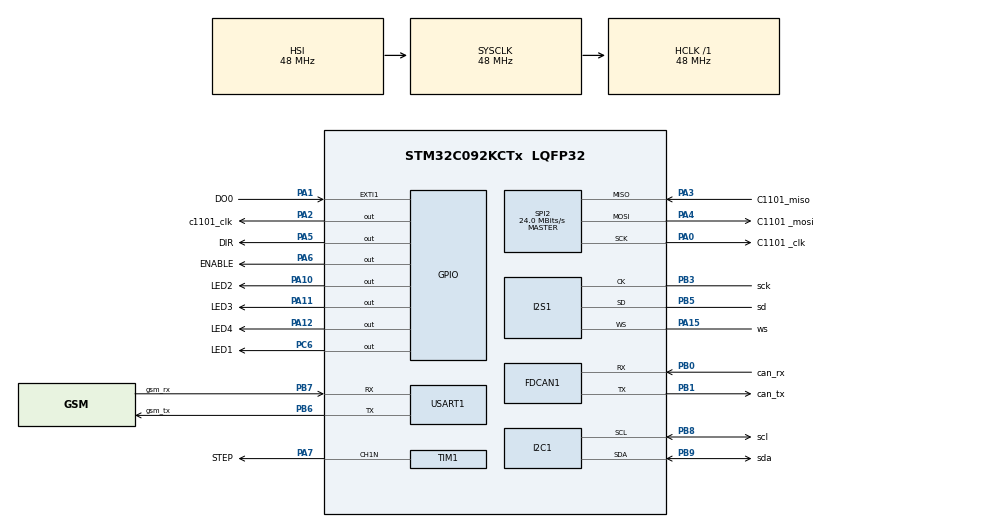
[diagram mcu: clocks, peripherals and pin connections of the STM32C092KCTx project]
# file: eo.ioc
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CORTEX_M0+.MPU_Control=__NULL
FDCAN1.CalculateBaudRateNominal=1000000
FDCAN1.CalculateTimeBitNominal=1000
FDCAN1.CalculateTimeQuantumNominal=333.3333333333333
I2C1.CustomTiming=Enabled
I2C1.Timing=0x10805D88
I2S1.AudioFreq=I2S_AUDIOFREQ_32K
I2S1.CPOL=I2S_CPOL_HIGH
I2S1.ErrorAudioFreq=-0.26 %
I2S1.FullDuplexMode=I2S_FULLDUPLEXMODE_DISABLE
I2S1.Instance=SPI$Index
I2S1.RealAudioFreq=31.914 KHz
I2S1.VirtualMode=I2S_MODE_MASTER
Mcu.Family=STM32C0
Mcu.Name=STM32C092KCTx
Mcu.Package=LQFP32
NVIC.DMA1_Channel2_3_IRQn=true\:2\:0\:false\:false\:true\:true\:true\:true
NVIC.EXTI0_1_IRQn=true\:1\:0\:false\:false\:true\:true\:true\:true
NVIC.FDCAN1_IT0_IRQn=true\:0\:0\:false\:false\:true\:true\:true\:true
NVIC.FDCAN1_IT1_IRQn=true\:0\:0\:false\:false\:true\:true\:true\:true
NVIC.SPI1_IRQn=true\:0\:0\:false\:false\:true\:true\:true\:true
NVIC.USART1_IRQn=true\:0\:0\:false\:false\:true\:true\:true\:true
PA0.GPIO_Label=C1101 _clk
PA0.Mode=Full_Duplex_Master
PA0.Signal=SPI2_SCK
PA1.GPIO_Label=DO0
PA1.GPIO_Mode=GPIO_MODE_IT_RISING
PA1.GPIO_PuPd=GPIO_NOPULL
PA1.GPIO_Speed=GPIO_SPEED_FREQ_LOW
PA1.Signal=GPIO_EXTI1
PA10.GPIO_Label=LED2
PA10.Signal=GPIO_Output
PA11\ [PA9].GPIO_Label=LED3
PA11\ [PA9].Signal=GPIO_Output
PA12\ [PA10].GPIO_Label=LED4
PA12\ [PA10].Signal=GPIO_Output
PA13.Mode=Serial_Wire
PA13.Signal=DEBUG_SWDIO
PA14-BOOT0.Mode=Serial_Wire
PA14-BOOT0.Signal=DEBUG_SWCLK
PA15.GPIO_Label=ws
PA15.Mode=Half_Duplex_Master
PA15.Signal=I2S1_WS
PA2.GPIO_Label=c1101_clk
PA2.Signal=GPIO_Output
PA3.GPIO_Label=C1101_miso
PA3.Mode=Full_Duplex_Master
PA3.Signal=SPI2_MISO
PA4.GPIO_Label=C1101 _mosi
PA4.Mode=Full_Duplex_Master
PA4.Signal=SPI2_MOSI
PA5.GPIO_Label=DIR
PA5.Signal=GPIO_Output
PA6.GPIO_Label=ENABLE
PA6.Signal=GPIO_Output
PA7.GPIO_Label=STEP
PA7.Mode=PWM Generation1 CH1N
PA7.Signal=TIM1_CH1N
PB0.GPIO_Label=can_rx
PB0.Mode=FDCAN_Activate
PB0.Signal=FDCAN1_RX
PB1.GPIO_Label=can_tx
PB1.Mode=FDCAN_Activate
PB1.Signal=FDCAN1_TX
PB3.GPIO_Label=sck
PB3.Mode=Half_Duplex_Master
PB3.Signal=I2S1_CK
PB5.GPIO_Label=sd
PB5.Mode=Half_Duplex_Master
PB5.Signal=I2S1_SD
PB6.GPIO_Label=gsm_tx
PB6.Mode=Asynchronous
PB6.Signal=USART1_TX
PB7.GPIO_Label=gsm_rx
PB7.Mode=Asynchronous
PB7.Signal=USART1_RX
PB8.GPIO_Label=scl
PB8.Mode=I2C
PB8.Signal=I2C1_SCL
PB9.GPIO_Label=sda
PB9.Mode=I2C
PB9.Signal=I2C1_SDA
PC6.GPIO_Label=LED1
PC6.Signal=GPIO_Output
ProjectManager.HeapSize=0x200
ProjectManager.StackSize=0x400
ProjectManager.TargetToolchain=STM32CubeIDE
RCC.ADCFreq_Value=48000000
RCC.AHBFreq_Value=48000000
RCC.CortexFreq_Value=48000000
RCC.EXTERNAL_CLOCK_VALUE=12288000
RCC.HCLKFreq_Value=48000000
RCC.HSE_VALUE=8000000
RCC.HSISYSCLKDivider=RCC_HSI_DIV1
RCC.HSI_VALUE=48000000
RCC.LSE_VALUE=32768
RCC.SYSCLKFreq_VALUE=48000000
SPI2.CalculateBaudRate=24.0 MBits/s
SPI2.Direction=SPI_DIRECTION_2LINES
SPI2.Mode=SPI_MODE_MASTER
SPI2.VirtualType=VM_MASTER
TIM1.Channel-PWM\ Generation1\ CH1N=TIM_CHANNEL_1
USART1.VirtualMode-Asynchronous=VM_ASYNC
VP_TIM1_VS_ClockSourceINT.Mode=Internal
board=custom

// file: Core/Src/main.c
/* USER CODE BEGIN Header */
/**
  ******************************************************************************
  * @file           : main.c
  * @brief          : Main program body
  ******************************************************************************
  * @attention
  *
  * Copyright (c) 2026 STMicroelectronics.
  * All rights reserved.
  *
  * This software is licensed under terms that can be found in the LICENSE file
  * in the root directory of this software component.
  * If no LICENSE file comes with this software, it is provided AS-IS.
  *
  ******************************************************************************
  */
/* USER CODE END Header */
#include "main.h"
#include "fdcan.h"
#include "i2c.h"
#include "i2s.h"
#include "spi.h"
#include "tim.h"
#include "usart.h"
#include "gpio.h"

/* USER CODE BEGIN Includes */
#include "cc1101.h"
#include "client_node.h"
#include "gps_compass.h"

/* Feature macros - enable specific node capabilities */
//#define HAS_AUDIO_NODE

#ifdef HAS_AUDIO_NODE
#include "i2s_mic.h"
#endif
/* USER CODE END Includes */

/* USER CODE BEGIN PV */
static char client_id[5];
static char client_pwd[5];
static uint8_t client_addr = 0;

/* GPS + Compass combined sensor data (non-static for extern access) */
Sensor_Data_t sensor_data;

/* Global GPS RX byte (fed from USART1 IRQ) */
volatile uint8_t gps_rx_byte = 0;

/* Current heading of the stepper motor relative to the drone's frame (0-360 deg) */
static float motor_current_heading = 0.0f;

#ifdef HAS_AUDIO_NODE
static uint8_t audio_valid = 0;
#endif
/* USER CODE END PV */

void SystemClock_Config(void);

/* USER CODE BEGIN 0 */

/* Stepper motor: 200 steps/revolution (1.8 deg/step) */
#define STEPS_PER_REV   200

/* A4988 microstepping multiplier - set to match MS1/MS2/MS3 strapping:
 * MS1 MS2 MS3 | Mode        | Steps/rev
 * L   L   L   | Full        | 200
 * H   L   L   | Half        | 400
 * L   H   L   | Quarter     | 800
 * H   H   L   | Eighth      | 1600
 * H   H   H   | Sixteenth   | 3200   <- common default on many carriers
 * If unsure which mode your A4988 is in, keep STEPPER_MICROSTEPS = 16 */
#define STEPPER_MICROSTEPS   16

/**
  * @brief  Microsecond busy-wait delay (48MHz CPU)
  *         Cortex-M0+ NOP + loop overhead ≈ 4 cycles per iteration,
  *         so use 48/4 = 12 iterations per microsecond.
  * @param  us: Microseconds to wait
  */
static void delay_us(uint32_t us)
{
  uint32_t ticks = us * 12;  /* ~12 iterations per µs at 48MHz (4 cyc/iter) */
  while (ticks--)
  {
    __NOP();
  }
}

/* Obfuscation key for boot pattern (keeps phrase hidden in source) */
#define BOOT_PATTERN_KEY  0x55

/**
  * @brief  Show boot phrase pattern on LEDs (right after boot)
  *         LED1=PC6, LED2=PA10, LED3=PA11, LED4=PA12
  *         Pattern is XOR-encoded so the phrase is not readable in source.
  */
static void Boot_ShowPattern(void)
{
  /* Encoded 4-bit LED patterns (bit3=LED1 ... bit0=LED4), XOR key 0x55 */
  static const uint8_t enc[] = {
    0x5A,0x5F,0x55,0x59,0x5A,0x5F,0x50,0x55,
    0x59,0x5F,0x56,0x5A,0x50,0x5F
  };
  uint8_t i, j, pat;

  /* All LEDs off first */
  HAL_GPIO_WritePin(LED1_GPIO_Port, LED1_Pin, GPIO_PIN_SET);
  HAL_GPIO_WritePin(GPIOA, LED2_Pin|LED3_Pin|LED4_Pin, GPIO_PIN_SET);
  HAL_Delay(150);

  /* Scroll through boot phrase */
  for (i = 0; i < sizeof(enc); i++)
  {
    pat = enc[i] ^ BOOT_PATTERN_KEY;

    HAL_GPIO_WritePin(LED1_GPIO_Port, LED1_Pin,
                      (pat & 0x08) ? GPIO_PIN_RESET : GPIO_PIN_SET);
    HAL_GPIO_WritePin(GPIOA, LED2_Pin,
                      (pat & 0x04) ? GPIO_PIN_RESET : GPIO_PIN_SET);
    HAL_GPIO_WritePin(GPIOA, LED3_Pin,
                      (pat & 0x02) ? GPIO_PIN_RESET : GPIO_PIN_SET);
    HAL_GPIO_WritePin(GPIOA, LED4_Pin,
                      (pat & 0x01) ? GPIO_PIN_RESET : GPIO_PIN_SET);

    HAL_Delay(250);

    /* Blink twice for emphasis */
    for (j = 0; j < 2; j++)
    {
      HAL_GPIO_WritePin(LED1_GPIO_Port, LED1_Pin, GPIO_PIN_SET);
      HAL_GPIO_WritePin(GPIOA, LED2_Pin|LED3_Pin|LED4_Pin, GPIO_PIN_SET);
      HAL_Delay(70);
      HAL_GPIO_WritePin(LED1_GPIO_Port, LED1_Pin,
                        (pat & 0x08) ? GPIO_PIN_RESET : GPIO_PIN_SET);
      HAL_GPIO_WritePin(GPIOA, LED2_Pin,
                        (pat & 0x04) ? GPIO_PIN_RESET : GPIO_PIN_SET);
      HAL_GPIO_WritePin(GPIOA, LED3_Pin,
                        (pat & 0x02) ? GPIO_PIN_RESET : GPIO_PIN_SET);
      HAL_GPIO_WritePin(GPIOA, LED4_Pin,
                        (pat & 0x01) ? GPIO_PIN_RESET : GPIO_PIN_SET);
      HAL_Delay(70);
    }
  }

  /* Final sweep: all LEDs on then off */
  HAL_GPIO_WritePin(LED1_GPIO_Port, LED1_Pin, GPIO_PIN_RESET);
  HAL_GPIO_WritePin(GPIOA, LED2_Pin|LED3_Pin|LED4_Pin, GPIO_PIN_RESET);
  HAL_Delay(400);
  HAL_GPIO_WritePin(LED1_GPIO_Port, LED1_Pin, GPIO_PIN_SET);
  HAL_GPIO_WritePin(GPIOA, LED2_Pin|LED3_Pin|LED4_Pin, GPIO_PIN_SET);
  HAL_Delay(150);
}

/* Forward declaration: Stepper_Rotate is called by Stepper_PointToHeading
 * but is defined further down in this file. */
static void Stepper_Rotate(int32_t degrees, uint32_t max_speed_hz);

/**
  * @brief  Rotates the stepper motor to point to a specific world heading.
  * @param  target_world_heading: The desired absolute heading (0-360, 0=North).
  * @param  current_drone_heading: The current absolute heading of the drone from the compass.
  * @param  p_current_motor_heading: Pointer to the variable holding the motor's current
  *                                  heading relative to the drone frame.
  */
void Stepper_PointToHeading(float target_world_heading, float current_drone_heading, float *p_current_motor_heading)
{
  /* Calculate how the motor should be angled relative to the drone's body
   * to point to the target world heading. */
  float target_relative_heading = target_world_heading - current_drone_heading;

  /* Normalize the angle to the shortest path (-180 to 180 degrees). */
  while (target_relative_heading > 180.0f)
  {
    target_relative_heading -= 360.0f;
  }
  while (target_relative_heading <= -180.0f)
  {
    target_relative_heading += 360.0f;
  }

  /* Calculate the rotation needed from the motor's current position. */
  float rotation_needed = target_relative_heading - *p_current_motor_heading;

  /* Normalize the required rotation to the shortest path. */
  while (rotation_needed > 180.0f)
  {
    rotation_needed -= 360.0f;
  }
  while (rotation_needed <= -180.0f)
  {
    rotation_needed += 360.0f;
  }

  /* Only move if the required rotation is significant (e.g., > 1 degree). */
  if ( (rotation_needed > 1.0f) || (rotation_needed < -1.0f) )
  {
    /* Rotate the motor by the calculated amount.
     * A speed of 1600 Hz is a reasonable default. */
    Stepper_Rotate((int32_t)rotation_needed, 1600);

    /* Update the motor's current heading. */
    *p_current_motor_heading += rotation_needed;

    /* Keep the motor's heading within the 0-360 degree range for consistency. */
    if (*p_current_motor_heading >= 360.0f)
    {
      *p_current_motor_heading -= 360.0f;
    }
    else if (*p_current_motor_heading < 0.0f)
    {
      *p_current_motor_heading += 360.0f;
    }
  }
}

/**
  * @brief  Rotate stepper motor by given degrees
  * @param  degrees: Angle to rotate (positive = CW, negative = CCW)
  * @param  max_speed_hz: The maximum step frequency (speed) in Hz.
  */
static void Stepper_Rotate(int32_t degrees, uint32_t max_speed_hz)
{
  int32_t steps;
  int32_t i;

  /* Enable motor driver for the duration of this move */
  HAL_GPIO_WritePin(ENABLE_GPIO_Port, ENABLE_Pin, GPIO_PIN_RESET);
  HAL_Delay(200); /* Let coils energize */

  /* Set direction: A4988 DIR HIGH = CW, DIR LOW = CCW (per typical hookup) */
  if (degrees >= 0)
  {
    HAL_GPIO_WritePin(DIR_GPIO_Port, DIR_Pin, GPIO_PIN_SET);   /* CW */
    steps = (degrees * STEPS_PER_REV * STEPPER_MICROSTEPS) / 360;
  }
  else
  {
    HAL_GPIO_WritePin(DIR_GPIO_Port, DIR_Pin, GPIO_PIN_RESET); /* CCW */
    steps = (-degrees * STEPS_PER_REV * STEPPER_MICROSTEPS) / 360;
  }

  /* --- Ramping Implementation ---
   * To reach high speeds, the motor must accelerate from a slow start speed
   * and decelerate before stopping. This is called ramping. */
  uint32_t start_speed_hz = 400;  /* A safe speed to start and stop at (e.g., 7.5 RPM) */
  uint32_t accel_steps = 400;     /* Number of steps over which to accelerate/decelerate. */

  /* If the total move is too short, there's no time for a full ramp.
   * In this case, use half the steps for acceleration and half for deceleration. */
  if (steps < (2 * accel_steps)) {
    accel_steps = steps / 2;
  }

  for (i = 0; i < steps; i++)
  {
    uint32_t current_speed_hz;

    /* --- Calculate current speed based on position in the ramp --- */
    // Acceleration phase
    if (i < accel_steps) {
      current_speed_hz = start_speed_hz + ((max_speed_hz - start_speed_hz) * i) / accel_steps;
    }
    // Deceleration phase
    else if (i >= (steps - accel_steps)) {
      current_speed_hz = max_speed_hz - ((max_speed_hz - start_speed_hz) * (i - (steps - accel_steps))) / accel_steps;
    }
    // Constant speed (cruise) phase
    else {
      current_speed_hz = max_speed_hz;
    }

    /* Calculate delay for the current speed */
    uint32_t half_period_us = 500000 / current_speed_hz;

    /* A4988 requires a minimum STEP pulse width of 1us.
       Our delay_us is approximate, so ensure we don't go below a safe value. */
    if (half_period_us < 2)
    {
        half_period_us = 2;
    }

    /* --- Generate one step pulse --- */
    HAL_GPIO_WritePin(STEP_GPIO_Port, STEP_Pin, GPIO_PIN_SET);
    delay_us(half_period_us);
    HAL_GPIO_WritePin(STEP_GPIO_Port, STEP_Pin, GPIO_PIN_RESET);
    delay_us(half_period_us);
  }

  /* Disable motor driver when move is complete to prevent overheating and save power */
  HAL_GPIO_WritePin(ENABLE_GPIO_Port, ENABLE_Pin, GPIO_PIN_SET);
  HAL_Delay(200); /* Let coils energize */
}

/* USER CODE END 0 */

int main(void)
{

  /* MCU Configuration--------------------------------------------------------*/

  /* Reset of all peripherals, Initializes the Flash interface and the Systick. */
  HAL_Init();

  /* Configure the system clock */
  SystemClock_Config();

  /* Initialize all configured peripherals */
  MX_GPIO_Init();
  MX_FDCAN1_Init();
  MX_I2C1_Init();
  MX_I2S1_Init();
  MX_SPI2_Init();
  MX_TIM1_Init();
  MX_USART1_UART_Init();
  /* USER CODE BEGIN 2 */

  /* Show boot phrase pattern on LEDs first (before anything else) */
  Boot_ShowPattern();

  /* Initialize CC1101 transceiver */
  //CC1101_Init();

  /* Initialize GPS + Compass sensors */
  if (!Sensors_Init())
  {
    /* Compass or other sensor init failed.
     * This is a critical error, so we enter the error handler.
     * You could add specific LED blinking here for diagnostics. */
    Error_Handler();
  }

  /* Start GPS UART RX interrupt */
  HAL_UART_Receive_IT(&huart1, (uint8_t *)&gps_rx_byte, 1);

#ifdef HAS_AUDIO_NODE
  /* Initialize dual I2S microphone array with DMA */
  if (I2S_Mic_Init())
  {
    I2S_Mic_Start();
    audio_valid = 1;
  }
#endif

  /* Phase 1: Parse configuration from flash */
  if (Client_ParseFlashConfig(client_id, client_pwd))
  {
    /* Phase 2: Dynamic provisioning (Join Request / Join Accept) */
    if (Client_Provision(client_id, client_pwd, &client_addr))
    {
      /* Provisioning successful - enable GDO0 interrupt */
      CC1101_EnableGdo0Interrupt();
    }
    else
    {
      /* Provisioning failed - stay in broadcast mode */
      CC1101_SetAddress(CC1101_ADDR_BROADCAST);
      CC1101_EnableGdo0Interrupt();
    }
  }
  else
  {
    /* Config parse failed - stay in broadcast mode */
    CC1101_SetAddress(CC1101_ADDR_BROADCAST);
    CC1101_EnableGdo0Interrupt();
  }

  /* USER CODE END 2 */

  /* Infinite loop */
  while (1)
  {

    /* USER CODE BEGIN 3 */

    /* Update GPS + Compass sensor data */
    Sensors_Update(&sensor_data);

    /* If compass data is valid, try to point the motor North.
     * This continuously adjusts the motor to compensate for the drone's rotation. */
    if (sensor_data.compass.valid)
    {
      /* Target heading is 0 degrees (North) */
      Stepper_PointToHeading(0.0f, sensor_data.compass.heading_deg, &motor_current_heading);
    }

    /* Check if a packet was received (GDO0 interrupt) */
    if (client_rx_flag)
    {
      uint8_t rx_len;
      uint8_t rx_buf[PKT_MAX_LEN];

      /* Clear flag */
      client_rx_flag = 0;

      /* Read the RX FIFO */
      rx_len = CC1101_ReadRxFifo(rx_buf, PKT_MAX_LEN);

      /* Process the received command and send response */
      if (rx_len > 0)
      {
        Client_ProcessPacket(rx_buf, rx_len);
      }

      /* Return to RX mode */
      Client_EnterRxMode();
    }

    /* Small delay to prevent busy-looping and give CPU to other tasks if needed */
    HAL_Delay(20);

  }
  /* USER CODE END 3 */
}

void SystemClock_Config(void)
{
  RCC_OscInitTypeDef RCC_OscInitStruct = {0};
  RCC_ClkInitTypeDef RCC_ClkInitStruct = {0};

  __HAL_FLASH_SET_LATENCY(FLASH_LATENCY_1);

  /** Initializes the RCC Oscillators according to the specified parameters
  * in the RCC_OscInitTypeDef structure.
  */
  RCC_OscInitStruct.OscillatorType = RCC_OSCILLATORTYPE_HSI;
  RCC_OscInitStruct.HSIState = RCC_HSI_ON;
  RCC_OscInitStruct.HSIDiv = RCC_HSI_DIV1;
  RCC_OscInitStruct.HSICalibrationValue = RCC_HSICALIBRATION_DEFAULT;
  if (HAL_RCC_OscConfig(&RCC_OscInitStruct) != HAL_OK)
  {
    Error_Handler();
  }

  /** Initializes the CPU, AHB and APB buses clocks
  */
  RCC_ClkInitStruct.ClockType = RCC_CLOCKTYPE_HCLK|RCC_CLOCKTYPE_SYSCLK
                              |RCC_CLOCKTYPE_PCLK1;
  RCC_ClkInitStruct.SYSCLKSource = RCC_SYSCLKSOURCE_HSI;
  RCC_ClkInitStruct.SYSCLKDivider = RCC_SYSCLK_DIV1;
  RCC_ClkInitStruct.AHBCLKDivider = RCC_HCLK_DIV1;
  RCC_ClkInitStruct.APB1CLKDivider = RCC_APB1_DIV1;

  if (HAL_RCC_ClockConfig(&RCC_ClkInitStruct, FLASH_LATENCY_1) != HAL_OK)
  {
    Error_Handler();
  }
}

void Error_Handler(void)
{
  __disable_irq();
  while (1)
  {
  }
}
